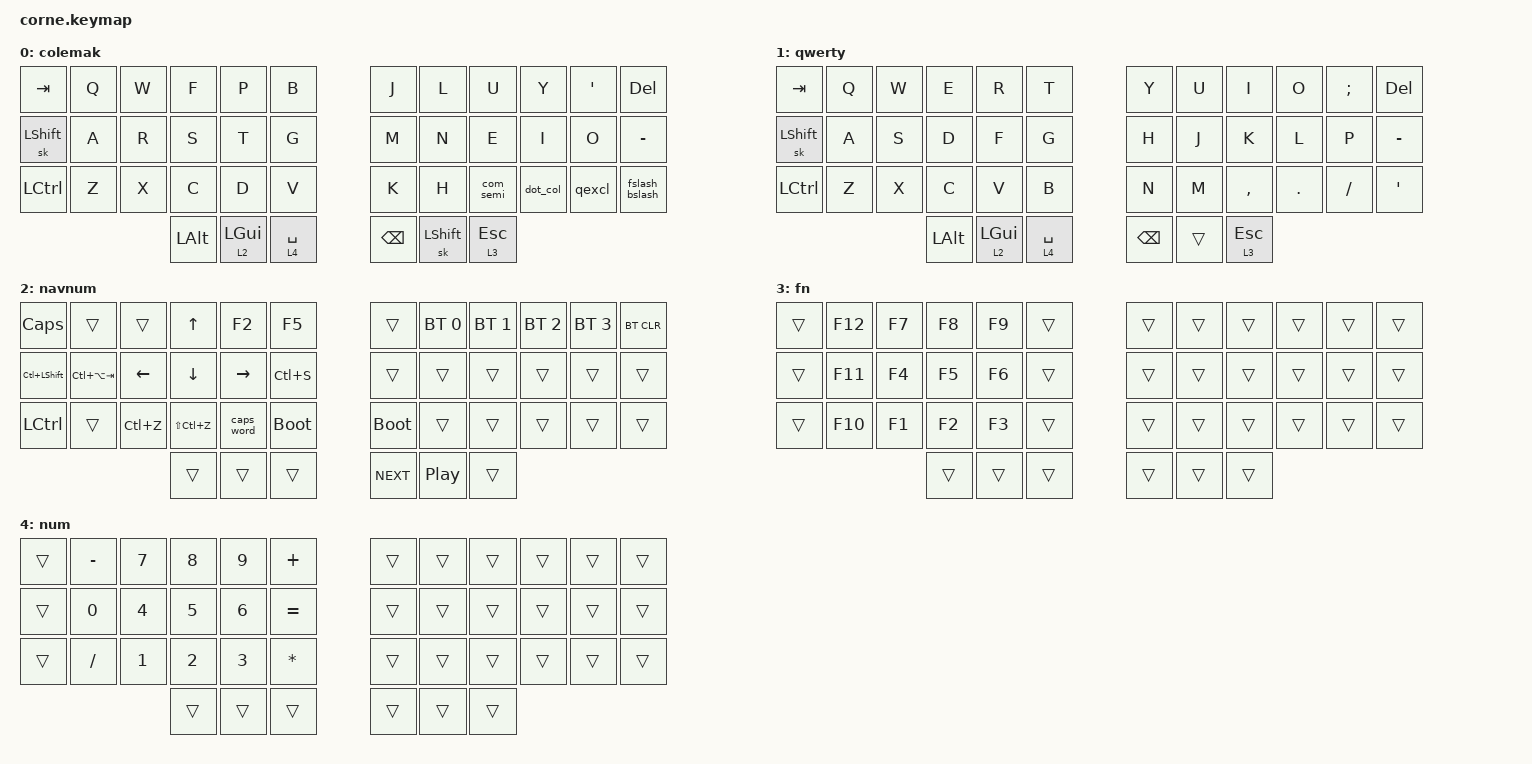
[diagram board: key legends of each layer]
/*
 * Copyright (c) 2020 The ZMK Contributors
 *
 * SPDX-License-Identifier: MIT
 */

#include <behaviors/num_word.dtsi>
#include <behaviors.dtsi>
#include <dt-bindings/zmk/bt.h>
#include <dt-bindings/zmk/keys.h>

&sk {
    quick-release;
    release-after-ms = <500>;
};

&lt {
    tapping-term-ms = <280>;
    quick-tap-ms = <175>;
    require-prior-idle-ms = <170>;
    flavor = "tap-preferred";
    bindings = <&mo>, <&kp>;
};

&num_word { continue-list = <BSPC DEL DOT COMMA PLUS MINUS STAR FSLH EQUAL LSHFT>; };

/ {
    combos {
        compatible = "zmk,combos";

        qwerty {
            bindings = <&to 1>;
            key-positions = <38 16>;
            layers = <0>;
        };

        colemak {
            bindings = <&to 0>;
            key-positions = <38 16>;
            layers = <1>;
        };

        screenshot {
            bindings = <&kp LS(LG(S))>;
            key-positions = <37 15>;
        };

        explorer {
            bindings = <&kp LG(E)>;
            key-positions = <37 16>;
        };

        lock {
            bindings = <&kp LG(L)>;
            key-positions = <12 0>;
        };

        cut {
            bindings = <&kp LC(X)>;
            key-positions = <26 28>;
            require-prior-idle-ms = <200>;
        };

        copy {
            bindings = <&kp LC(C)>;
            key-positions = <26 27>;
            require-prior-idle-ms = <200>;
        };

        paste {
            bindings = <&kp LC(V)>;
            key-positions = <27 28>;
            require-prior-idle-ms = <200>;
        };

        selectAll {
            bindings = <&kp LC(A)>;
            key-positions = <25 28>;
            require-prior-idle-ms = <200>;
        };

        enter {
            bindings = <&kp ENTER>;
            key-positions = <3 4>;
            require-prior-idle-ms = <200>;
        };

        backspace {
            bindings = <&kp BACKSPACE>;
            key-positions = <2 3>;
            require-prior-idle-ms = <200>;
        };

        contextMenu {
            bindings = <&kp K_CONTEXT_MENU>;
            key-positions = <25 26>;
            require-prior-idle-ms = <200>;
        };

        lpar_lt {
            bindings = <&lpar_lt>;
            key-positions = <19 20>;
            require-prior-idle-ms = <200>;
        };

        rpar_gt {
            bindings = <&rpar_gt>;
            key-positions = <20 21>;
        };

        slash_bslash {
            bindings = <&kp BSLH>;
            key-positions = <7 8>;
            require-prior-idle-ms = <200>;
        };

        slash {
            bindings = <&kp SLASH>;
            key-positions = <8 9>;
            require-prior-idle-ms = <200>;
        };

        lbracket {
            bindings = <&kp LEFT_BRACKET>;
            key-positions = <31 32>;
            require-prior-idle-ms = <200>;
        };

        rbracket {
            bindings = <&kp RIGHT_BRACKET>;
            key-positions = <32 33>;
            require-prior-idle-ms = <200>;
        };

        at_pipe {
            bindings = <&at_pipe>;
            key-positions = <13 14>;
            require-prior-idle-ms = <200>;
        };

        hasht_caret {
            bindings = <&hasht_caret>;
            key-positions = <15 14>;
            require-prior-idle-ms = <200>;
        };

        dol_grave {
            bindings = <&dol_grave>;
            key-positions = <15 16>;
            require-prior-idle-ms = <200>;
        };

        percent {
            bindings = <&kp PERCENT>;
            key-positions = <16 17>;
            require-prior-idle-ms = <200>;
        };

        and {
            bindings = <&kp AMPERSAND>;
            key-positions = <3 16>;
            require-prior-idle-ms = <200>;
        };

        tilde {
            bindings = <&kp TILDE>;
            key-positions = <15 28>;
            require-prior-idle-ms = <200>;
        };
    };

    behaviors {
        qexcl: qexcl {
            compatible = "zmk,behavior-mod-morph";
            label = "QEXCL";
            bindings = <&kp QMARK>, <&kp EXCL>;

            #binding-cells = <0>;
            mods = <(MOD_LSFT)>;
        };

        lpar_lt: lpar_lt {
            compatible = "zmk,behavior-mod-morph";
            label = "LPAR_LT";
            bindings = <&kp LPAR>, <&kp LT>;

            #binding-cells = <0>;
            mods = <(MOD_LSFT)>;
        };

        rpar_gt: rpar_gt {
            compatible = "zmk,behavior-mod-morph";
            label = "RPAR_GT";
            bindings = <&kp RIGHT_PARENTHESIS>, <&kp GT>;

            #binding-cells = <0>;
            mods = <(MOD_LSFT)>;
        };

        dot_col: dot_col {
            compatible = "zmk,behavior-mod-morph";
            label = "DOT_COL";
            bindings = <&kp DOT>, <&kp COLON>;

            #binding-cells = <0>;
            mods = <(MOD_LSFT)>;
        };

        com_semi: com_semi {
            compatible = "zmk,behavior-mod-morph";
            label = "COM_SEMI";
            bindings = <&kp COMMA>, <&kp SEMICOLON>;

            #binding-cells = <0>;
            mods = <(MOD_LSFT)>;
        };

        fslash_bslash: fslash_bslash {
            compatible = "zmk,behavior-mod-morph";
            label = "FSLASH_BSLASH";
            bindings = <&kp SLASH>, <&kp BACKSLASH>;

            #binding-cells = <0>;
            mods = <(MOD_LSFT)>;
        };

        at_pipe: at_pipe {
            compatible = "zmk,behavior-mod-morph";
            label = "AT_PIPE";
            bindings = <&kp AT>, <&kp PIPE>;

            #binding-cells = <0>;
            mods = <(MOD_LSFT)>;
        };

        hasht_caret: hasht_caret {
            compatible = "zmk,behavior-mod-morph";
            label = "HASHT_CARET";
            bindings = <&kp HASH>, <&kp CARET>;

            #binding-cells = <0>;
            mods = <(MOD_LSFT)>;
        };

        dol_grave: dol_grave {
            compatible = "zmk,behavior-mod-morph";
            label = "DOL_GRAVE";
            bindings = <&kp DOLLAR>, <&kp GRAVE>;

            #binding-cells = <0>;
            mods = <(MOD_LSFT)>;
        };
    };

    keymap {
        compatible = "zmk,keymap";

        colemak {
            bindings = <
&kp TAB    &kp Q  &kp W  &kp F         &kp P           &kp B          &kp J     &kp L           &kp U         &kp Y     &kp APOS  &kp DEL
&sk LSHFT  &kp A  &kp R  &kp S         &kp T           &kp G          &kp M     &kp N           &kp E         &kp I     &kp O     &kp MINUS
&kp LCTRL  &kp Z  &kp X  &kp C         &kp D           &kp V          &kp K     &kp H           &com_semi     &dot_col  &qexcl    &fslash_bslash
                         &kp LEFT_ALT  &lt 2 LEFT_GUI  &lt 4 SPACE    &kp BSPC  &sk LEFT_SHIFT  &lt 3 ESCAPE
            >;

            label = "colemak";
        };

        qwerty {
            bindings = <
&kp TAB    &kp Q  &kp W  &kp E         &kp R           &kp T          &kp Y     &kp U   &kp I         &kp O    &kp SEMI  &kp DEL
&sk LSHFT  &kp A  &kp S  &kp D         &kp F           &kp G          &kp H     &kp J   &kp K         &kp L    &kp P     &kp MINUS
&kp LCTRL  &kp Z  &kp X  &kp C         &kp V           &kp B          &kp N     &kp M   &kp COMMA     &kp DOT  &kp FSLH  &kp SQT
                         &kp LEFT_ALT  &lt 2 LEFT_GUI  &lt 4 SPACE    &kp BSPC  &trans  &lt 3 ESCAPE
            >;

            label = "qwerty";
        };

        navnum {
            // -----------------------------------------------------------------------------------------
            // |  TAB |  1  |  2  |  3  |  4  |  5  |   |  6  |  7  |  8  |  9  |  0  | BSPC |
            // | BTCLR| BT1 | BT2 | BT3 | BT4 | BT5 |   | LFT | DWN |  UP | RGT |     |      |
            // | SHFT |     |     |     |     |     |   |     |     |     |     |     |      |
            //                    | GUI |     | SPC |   | ENT |     | ALT |

            bindings = <
&kp CAPSLOCK        &trans           &trans          &kp UP_ARROW    &kp F2           &kp F5         &trans       &bt BT_SEL 0      &bt BT_SEL 1  &bt BT_SEL 2  &bt BT_SEL 3  &bt BT_CLR
&kp LC(LEFT_SHIFT)  &kp LC(LA(TAB))  &kp LEFT_ARROW  &kp DOWN_ARROW  &kp RIGHT_ARROW  &kp LC(S)      &trans       &trans            &trans        &trans        &trans        &trans
&kp LEFT_CONTROL    &trans           &kp LC(Z)       &kp LS(LC(Z))   &caps_word       &bootloader    &bootloader  &trans            &trans        &trans        &trans        &trans
                                                     &trans          &trans           &trans         &kp C_NEXT   &kp C_PLAY_PAUSE  &trans
            >;

            label = "navnum";
        };

        fn {
            bindings = <
&trans  &kp F12  &kp F7  &kp F8  &kp F9  &trans    &trans  &trans  &trans  &trans  &trans  &trans
&trans  &kp F11  &kp F4  &kp F5  &kp F6  &trans    &trans  &trans  &trans  &trans  &trans  &trans
&trans  &kp F10  &kp F1  &kp F2  &kp F3  &trans    &trans  &trans  &trans  &trans  &trans  &trans
                         &trans  &trans  &trans    &trans  &trans  &trans
            >;

            label = "fn";
        };

        num {
            bindings = <
&trans  &kp MINUS  &kp N7  &kp N8  &kp N9  &kp PLUS     &trans  &trans  &trans  &trans  &trans  &trans
&trans  &kp N0     &kp N4  &kp N5  &kp N6  &kp EQUAL    &trans  &trans  &trans  &trans  &trans  &trans
&trans  &kp SLASH  &kp N1  &kp N2  &kp N3  &kp ASTRK    &trans  &trans  &trans  &trans  &trans  &trans
                           &trans  &trans  &trans       &trans  &trans  &trans
            >;

            label = "num";
        };
    };
};
